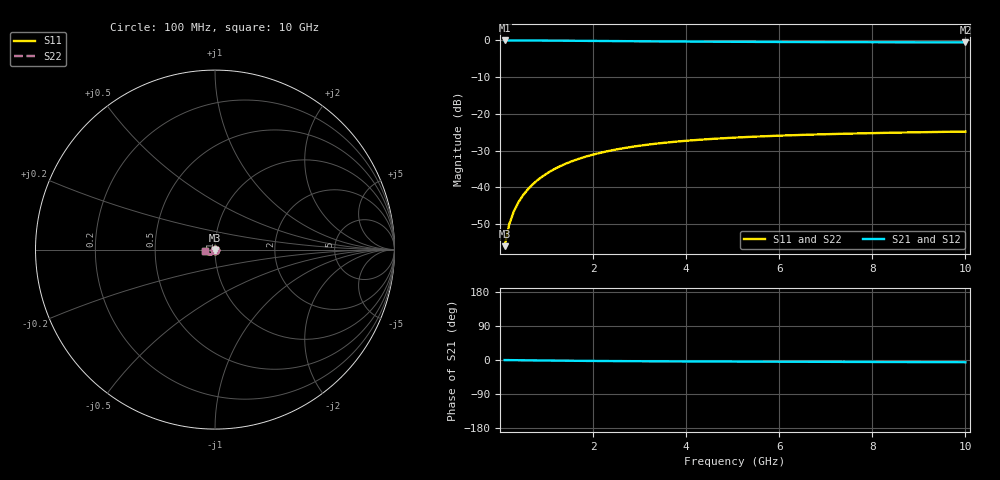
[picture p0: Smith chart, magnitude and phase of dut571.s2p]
! Touchstone file exported from HFSS 2024.1.0
!  File:  C:/UserFiles/LocalFiles/RDL_TSV_Batchsim/temp_TSV1_571_1779708271.aedt
!  Generated:  07:29:31 PM May 25, 2026
!  Design:  TSV1
!  Project:  temp_TSV1_571_1779708271
!  Setup:  Setup1
!  Solution:  Sweep
! Variables:
!  dtsv = 11.1um
!  hbump = 3um
!  htsv = 93.5um
!  lrdl = 252.1521522um
!  p = 40
!  p1 = 48.96um
!  t = 500um
!  trdl = 3um
!  wrdl = 24.89489489um
# GHz S MA R 50.000000
! Terminal data exported
! Port[1] = TSV22_T1
! Port[2] = TSV22_T2
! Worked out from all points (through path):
!   100 points, 100 MHz to 10 GHz, reference 50 ohm
!   highest |S21| = 0.00 dB at 100 MHz (marker M1); lowest = -0.5 dB at 10 GHz (marker M2)
!   lowest |S11| = -56.0 dB at 100 MHz (marker M3), VSWR 1.00, Z = 50 - j0.159 ohm
!   |S11| at or under -10 dB: start of sweep to end of sweep
!   |S22| runs from -56.0 to -24.8 dB; largest |S21 - S12| = 1e-14
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0.1  0.001591 -87.0  0.9998 -0.1  0.9998 -0.1  0.001591 -87.0
! Gamma 0 0 0 0
! Port Impedance 50 0 50 0
0.2  0.003174 -90.9  0.9997 -0.3  0.9997 -0.3  0.003174 -90.9
0.3  0.004756 -93.4  0.9994 -0.4  0.9994 -0.4  0.004756 -93.4
0.4  0.006332 -95.4  0.9991 -0.6  0.9991 -0.6  0.006332 -95.4
0.5  0.007898 -97.3  0.9986 -0.7  0.9986 -0.7  0.007898 -97.3
0.6  0.009447 -99.2  0.9981 -0.9  0.9981 -0.9  0.009447 -99.2
0.7  0.01098 -101.0  0.9975 -1.0  0.9975 -1.0  0.01098 -101.0
0.8  0.01248 -102.8  0.9968 -1.1  0.9968 -1.1  0.01248 -102.8
0.9  0.01396 -104.5  0.9961 -1.3  0.9961 -1.3  0.01396 -104.5
1.1  0.01683 -107.8  0.9945 -1.5  0.9945 -1.5  0.01683 -107.8
1.4  0.02088 -112.6  0.9917 -1.9  0.9917 -1.9  0.02088 -112.6
1.6  0.02339 -115.6  0.9896 -2.1  0.9896 -2.1  0.02339 -115.6
1.8  0.02576 -118.5  0.9875 -2.3  0.9875 -2.3  0.02576 -118.5
2.1  0.02903 -122.6  0.9842 -2.6  0.9842 -2.6  0.02903 -122.6
2.5  0.03289 -127.7  0.9799 -2.9  0.9799 -2.9  0.03289 -127.7
2.9  0.03621 -132.2  0.9757 -3.2  0.9757 -3.2  0.03621 -132.2
3.4  0.03973 -137.3  0.9709 -3.4  0.9709 -3.4  0.03973 -137.3
4.2  0.04416 -144.3  0.9642 -3.8  0.9642 -3.8  0.04416 -144.3
5.1  0.04787 -150.9  0.9582 -4.2  0.9582 -4.2  0.04787 -150.9
6.7  0.05238 -160.2  0.9504 -4.8  0.9504 -4.8  0.05238 -160.2
8.4  0.05552 -167.8  0.945 -5.3  0.945 -5.3  0.05552 -167.8
10  0.05763 -173.8  0.9415 -5.9  0.9415 -5.9  0.05763 -173.8
